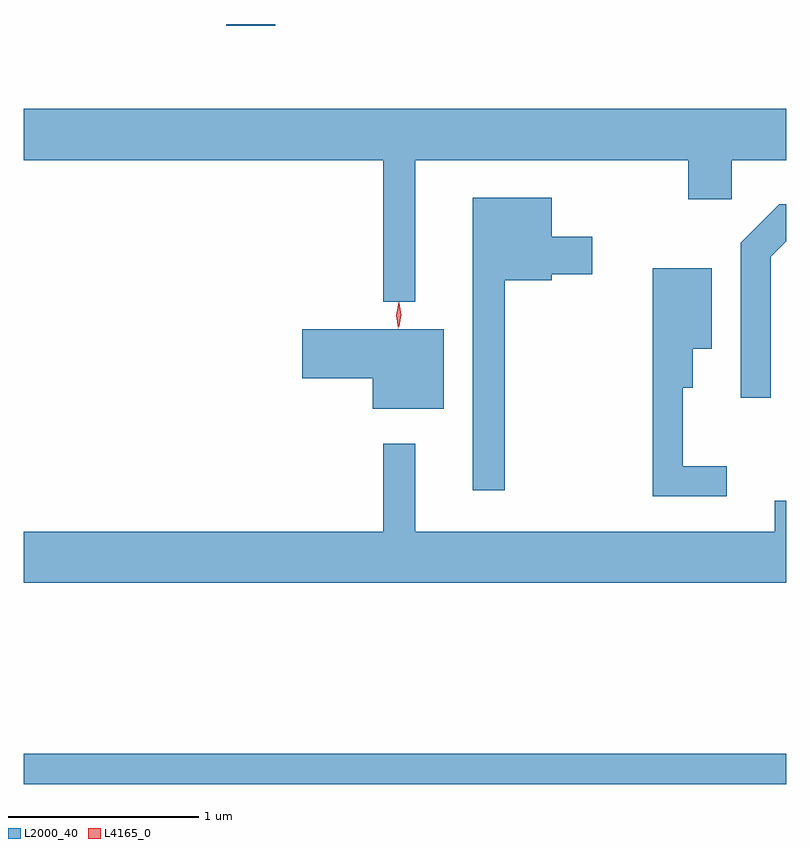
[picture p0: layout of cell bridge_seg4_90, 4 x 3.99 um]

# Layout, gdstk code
import gdstk
lib = gdstk.Library(unit=1e-6, precision=1e-09)
def R(c, l, rs):  # rectangles x0, y0, x1, y1
    for r in rs: c.add(gdstk.rectangle(r[:2], r[2:], *l))
def P(c, l, *ps):  # polygons
    for p in ps: c.add(gdstk.Polygon(p, *l))
L2000_40 = (2000, 40)
L4165_0 = (4165, 0)

bridge_seg4_90 = lib.new_cell('bridge_seg4_90')
R(bridge_seg4_90, L2000_40, [(1087.405,1324.761,1091.405,1324.919), (1088.466,1328.741,1088.724,1328.75)])
P(bridge_seg4_90, L2000_40, [(1089.459,1328.036),(1090.891,1328.036),(1090.891,1327.831),(1091.119,1327.831),(1091.119,1328.036),(1091.405,1328.036),(1091.405,1328.304),(1087.405,1328.304),(1087.405,1328.036),(1089.291,1328.036),(1089.291,1327.293),(1089.459,1327.293)],
  [(1089.929,1327.406),(1090.174,1327.406),(1090.174,1327.436),(1090.389,1327.436),(1090.389,1327.634),(1090.174,1327.634),(1090.174,1327.839),(1089.761,1327.839),(1089.761,1326.303),(1089.929,1326.303)],
  [(1091.324,1327.529),(1091.405,1327.609),(1091.405,1327.804),(1091.369,1327.804),(1091.166,1327.602),(1091.166,1326.788),(1091.324,1326.788)],
  [(1091.093,1326.429),(1090.864,1326.429),(1090.864,1326.841),(1090.914,1326.841),(1090.914,1327.046),(1091.014,1327.046),(1091.014,1327.469),(1090.706,1327.469),(1090.706,1326.271),(1091.093,1326.271)],
  [(1089.609,1327.149),(1088.866,1327.149),(1088.866,1326.891),(1089.236,1326.891),(1089.236,1326.731),(1089.609,1326.731)],
  [(1091.405,1326.249),(1091.346,1326.249),(1091.346,1326.084),(1089.459,1326.084),(1089.459,1326.548),(1089.291,1326.548),(1089.291,1326.084),(1087.405,1326.084),(1087.405,1325.816),(1091.405,1325.816)])
P(bridge_seg4_90, L4165_0, [(1089.369,1327.154),(1089.36,1327.222),(1089.371,1327.29),(1089.371,1327.29),(1089.372,1327.29),(1089.38,1327.222),(1089.37,1327.154),(1089.37,1327.154)],
  [(1089.374,1327.16),(1089.365,1327.224),(1089.374,1327.286),(1089.375,1327.287),(1089.375,1327.286),(1089.385,1327.224),(1089.375,1327.16),(1089.375,1327.16)])

lib.write_gds('bridge_seg4_90.gds')
